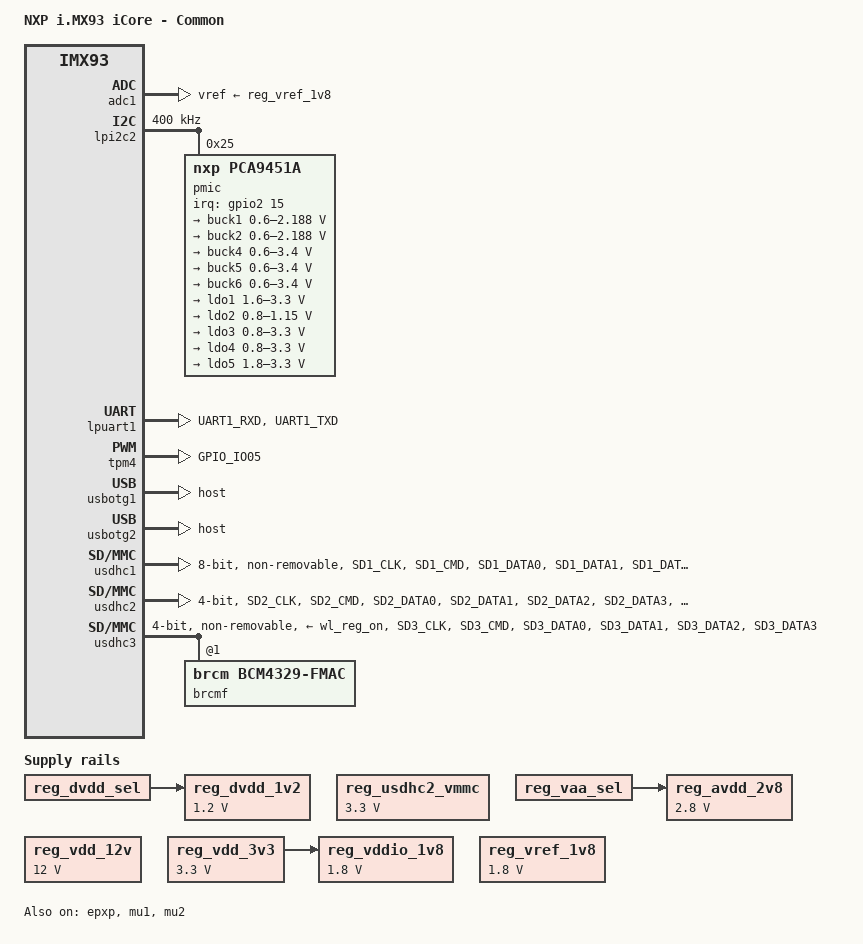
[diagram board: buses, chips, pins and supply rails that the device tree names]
// SPDX-License-Identifier: (GPL-2.0+ OR MIT)
/*
 * Copyright 2022 NXP
 */

/dts-v1/;

#include <dt-bindings/usb/pd.h>
#include "../freescale/imx93.dtsi"

&ele_mu {
	memory-region = <&ele_reserved>;
};

/ {
	model = "NXP i.MX93 iCore - Common";
	compatible = "engi,imx93" ,"fsl,imx93";

	aliases {
		rtc1= &bbnsm_rtc;
	};

	chosen {
		stdout-path = &lpuart1;
	};

	cm33: imx93-cm33 {
		compatible = "fsl,imx93-cm33";
		mbox-names = "tx", "rx", "rxdb";
		mboxes = <&mu1 0 1
			  &mu1 1 1
			  &mu1 3 1>;
		memory-region = <&vdevbuffer>, <&vdev0vring0>, <&vdev0vring1>,
				<&vdev1vring0>, <&vdev1vring1>, <&rsc_table>;
		fsl,startup-delay-ms = <500>;
	};

	ethosu {
		compatible = "arm,ethosu";
		fsl,cm33-proc = <&cm33>;
		memory-region = <&ethosu_mem>;
		power-domains = <&mlmix>;
	};

	reg_avdd_2v8: regulator-avdd {
		compatible = "regulator-fixed";
		regulator-name = "AVDD_2V8";
		regulator-min-microvolt = <2800000>;
		regulator-max-microvolt = <2800000>;
		enable-active-high;
		vin-supply = <&reg_vaa_sel>;
	};

	reg_dvdd_1v2: regulator-dvdd {
		compatible = "regulator-fixed";
		regulator-name = "DVDD_1V2";
		regulator-min-microvolt = <1200000>;
		regulator-max-microvolt = <1200000>;
		enable-active-high;
		vin-supply = <&reg_dvdd_sel>;
	};

	reg_dvdd_sel: regulator-dvdd_sel {
		compatible = "regulator-fixed";
		regulator-name = "DVDD_SEL";
		enable-active-high;
		startup-delay-us = <2000>;
	};

	reg_usdhc2_vmmc: regulator-usdhc2 {
		compatible = "regulator-fixed";
		regulator-name = "VSD_3V3";
		regulator-min-microvolt = <3300000>;
		regulator-max-microvolt = <3300000>;
	};

	reg_vaa_sel: regulator-vaa_sel {
		compatible = "regulator-fixed";
		regulator-name = "VAA_SEL";
		enable-active-high;
	};

	reg_vdd_12v: regulator-vdd-12v {
		compatible = "regulator-fixed";
		regulator-name = "reg_vdd_12v";
		regulator-min-microvolt = <12000000>;
		regulator-max-microvolt = <12000000>;
		enable-active-high;
	};

	reg_vddio_1v8: regulator-vddo {
		compatible = "regulator-fixed";
		regulator-name = "VDDIO_1V8";
		regulator-min-microvolt = <1800000>;
		regulator-max-microvolt = <1800000>;
		startup-delay-us = <4000>;
		enable-active-high;
		vin-supply = <&reg_vdd_3v3>;
	};

	reg_vdd_3v3: regulator-vdd {
		compatible = "regulator-fixed";
		regulator-name = "VDD_3V3";
		regulator-min-microvolt = <3300000>;
		regulator-max-microvolt = <3300000>;
		startup-delay-us = <4000>;
		enable-active-high;
	};

	reg_vref_1v8: regulator-adc-vref {
		compatible = "regulator-fixed";
		regulator-name = "vref_1v8";
		regulator-min-microvolt = <1800000>;
		regulator-max-microvolt = <1800000>;
	};

	reserved-memory {
		#address-cells = <2>;
		#size-cells = <2>;
		ranges;

		linux,cma {
			compatible = "shared-dma-pool";
			reusable;
			alloc-ranges = <0 0x80000000 0 0x40000000>;
			size = <0 0x10000000>;
			linux,cma-default;
		};

		ethosu_mem: ethosu_region@C0000000 {
			compatible = "shared-dma-pool";
			reusable;
			reg = <0x0 0xC0000000 0x0 0x10000000>;
		};

		rsc_table: rsc_table@2021f000 {
			reg = <0 0x2021f000 0 0x1000>;
			no-map;
		};

		vdevbuffer: vdevbuffer@a4020000 {
			compatible = "shared-dma-pool";
			reg = <0 0xa4020000 0 0x100000>;
			no-map;
		};

		vdev0vring0: vdev0vring0@a4000000 {
			reg = <0 0xa4000000 0 0x8000>;
			no-map;
		};

		vdev0vring1: vdev0vring1@a4008000 {
			reg = <0 0xa4008000 0 0x8000>;
			no-map;
		};

		vdev1vring0: vdev1vring0@a4000000 {
			reg = <0 0xa4010000 0 0x8000>;
			no-map;
		};

		vdev1vring1: vdev1vring1@a4018000 {
			reg = <0 0xa4018000 0 0x8000>;
			no-map;
		};

		ele_reserved: ele-reserved@a4120000 {
			compatible = "shared-dma-pool";
			reg = <0 0xa4120000 0 0x100000>;
			no-map;
		};
	};

	usdhc3_pwrseq: usdhc3_pwrseq {
		compatible = "mmc-pwrseq-simple";
	};
};

&adc1 {
	vref-supply = <&reg_vref_1v8>;
	status = "okay";
};

&epxp {
	status = "okay";
};

&isi_0 {
	status = "disabled";

	cap_device {
		status = "disabled";
	};
};

&lpi2c2 {
	#address-cells = <1>;
	#size-cells = <0>;
	clock-frequency = <400000>;
	pinctrl-names = "default", "sleep";
	pinctrl-0 = <&pinctrl_lpi2c2>;
	pinctrl-1 = <&pinctrl_lpi2c2>;
	status = "okay";

	pmic@25 {
		compatible = "nxp,pca9451a";
		reg = <0x25>;
		engi,wdog_b-warm-reset;


		interrupt-parent = <&gpio2>;
		interrupts = <15 IRQ_TYPE_LEVEL_LOW>;

		regulators {
			buck1: BUCK1 {
				regulator-name = "BUCK1";
				regulator-min-microvolt = <600000>;
				regulator-max-microvolt = <2187500>;
				regulator-boot-on;
				regulator-always-on;
				regulator-ramp-delay = <3125>;
			};

			buck2: BUCK2 {
				regulator-name = "BUCK2";
				regulator-min-microvolt = <600000>;
				regulator-max-microvolt = <2187500>;
				regulator-boot-on;
				regulator-always-on;
				regulator-ramp-delay = <3125>;
			};

			buck4: BUCK4{
				regulator-name = "BUCK4";
				regulator-min-microvolt = <600000>;
				regulator-max-microvolt = <3400000>;
				regulator-boot-on;
				regulator-always-on;
			};

			buck5: BUCK5{
				regulator-name = "BUCK5";
				regulator-min-microvolt = <600000>;
				regulator-max-microvolt = <3400000>;
				regulator-boot-on;
				regulator-always-on;
			};

			buck6: BUCK6 {
				regulator-name = "BUCK6";
				regulator-min-microvolt = <600000>;
				regulator-max-microvolt = <3400000>;
				regulator-boot-on;
				regulator-always-on;
			};

			ldo1: LDO1 {
				regulator-name = "LDO1";
				regulator-min-microvolt = <1600000>;
				regulator-max-microvolt = <3300000>;
				regulator-boot-on;
				regulator-always-on;
			};

			ldo2: LDO2 {
				regulator-name = "LDO2";
				regulator-min-microvolt = <800000>;
				regulator-max-microvolt = <1150000>;
				regulator-boot-on;
				regulator-always-on;
			};

			ldo3: LDO3 {
				regulator-name = "LDO3";
				regulator-min-microvolt = <800000>;
				regulator-max-microvolt = <3300000>;
				regulator-boot-on;
				regulator-always-on;
			};

			ldo4: LDO4 {
				regulator-name = "LDO4";
				regulator-min-microvolt = <800000>;
				regulator-max-microvolt = <3300000>;
				regulator-boot-on;
				regulator-always-on;
			};

			ldo5: LDO5 {
				regulator-name = "LDO5";
				regulator-min-microvolt = <1800000>;
				regulator-max-microvolt = <3300000>;
				regulator-boot-on;
				regulator-always-on;
			};
		};
	};
};

&lpuart1 { /* console */
	pinctrl-names = "default";
	pinctrl-0 = <&pinctrl_uart1>;
	status = "okay";
};

&mu1 {
	status = "okay";
};

&mu2 {
	status = "okay";
};

&tpm4 {
	pinctrl-names = "default";
	pinctrl-0 = <&pinctrl_tpm4>;
	status = "okay";
};

&usbotg1 {
	dr_mode = "host";
	status = "okay";
};

&usbotg2 {
	dr_mode = "host";
	status = "okay";
};

&usdhc1 {
	pinctrl-names = "default", "state_100mhz", "state_200mhz";
	pinctrl-0 = <&pinctrl_usdhc1>;
	pinctrl-1 = <&pinctrl_usdhc1>;
	pinctrl-2 = <&pinctrl_usdhc1>;
	bus-width = <8>;
	non-removable;
	status = "okay";
};

&usdhc2 {/*SD Card*/
	pinctrl-names = "default", "state_100mhz", "state_200mhz";
	pinctrl-0 = <&pinctrl_usdhc2>, <&pinctrl_usdhc2_gpio>;
	pinctrl-1 = <&pinctrl_usdhc2>, <&pinctrl_usdhc2_gpio>;
	pinctrl-2 = <&pinctrl_usdhc2>, <&pinctrl_usdhc2_gpio>;
	cd-gpios = <&gpio3 00 GPIO_ACTIVE_LOW>;
	bus-width = <4>;
	no-1-8-v;
	max-frequency = <25000000>;
	status = "okay";
};

&usdhc3 {/* WiFi*/
	pinctrl-names = "default", "state_100mhz", "state_200mhz";
	pinctrl-0 = <&pinctrl_usdhc3>, <&pinctrl_laird>;
	pinctrl-1 = <&pinctrl_usdhc3>, <&pinctrl_laird>;
	pinctrl-2 = <&pinctrl_usdhc3>, <&pinctrl_laird>;
	vmmc-supply = <&wl_reg_on>;
	bus-width = <4>;
	no-1-8-v;
	non-removable;
	max-frequency = <25000000>;
	status = "okay";

	#address-cells = <1>;
	#size-cells = <0>;

	brcmf: bcrmf@1 {
		reg = <1>;
		compatible = "brcm,bcm4329-fmac";
	};
};

&iomuxc {

	pinctrl_tpm4: tpm4grp {
		fsl,pins = <
			MX93_PAD_GPIO_IO05__TPM4_CH0			0x57e
		>;
	};

	pinctrl_uart1: uart1grp {
		fsl,pins = <
			MX93_PAD_UART1_RXD__LPUART1_RX			0x31e
			MX93_PAD_UART1_TXD__LPUART1_TX			0x31e
		>;
	};

	pinctrl_usdhc1: usdhc1grp {
		fsl,pins = <
			MX93_PAD_SD1_CLK__USDHC1_CLK		0x15fe
			MX93_PAD_SD1_CMD__USDHC1_CMD		0x13fe
			MX93_PAD_SD1_DATA0__USDHC1_DATA0	0x13fe
			MX93_PAD_SD1_DATA1__USDHC1_DATA1	0x13fe
			MX93_PAD_SD1_DATA2__USDHC1_DATA2	0x13fe
			MX93_PAD_SD1_DATA3__USDHC1_DATA3	0x13fe
			MX93_PAD_SD1_DATA4__USDHC1_DATA4	0x13fe
			MX93_PAD_SD1_DATA5__USDHC1_DATA5	0x13fe
			MX93_PAD_SD1_DATA6__USDHC1_DATA6	0x13fe
			MX93_PAD_SD1_DATA7__USDHC1_DATA7	0x13fe
			MX93_PAD_SD1_STROBE__USDHC1_STROBE	0x15fe
		>;
	};

	pinctrl_usdhc2: usdhc2grp {
		fsl,pins = <
			MX93_PAD_SD2_CLK__USDHC2_CLK			0x170e
			MX93_PAD_SD2_CMD__USDHC2_CMD			0x130e
			MX93_PAD_SD2_DATA0__USDHC2_DATA0		0x130e
			MX93_PAD_SD2_DATA1__USDHC2_DATA1        0x130e
			MX93_PAD_SD2_DATA2__USDHC2_DATA2        0x130e
			MX93_PAD_SD2_DATA3__USDHC2_DATA3        0x130e
			MX93_PAD_SD2_VSELECT__USDHC2_VSELECT	0x51e
		>;
	};

	pinctrl_usdhc2_gpio: usdhc2gpiogrp {
		fsl,pins = <
			MX93_PAD_SD2_CD_B__GPIO3_IO00		0x31e
		>;
	};

	pinctrl_usdhc3: usdhc3grp {
		fsl,pins = <
			MX93_PAD_SD3_CLK__USDHC3_CLK			0x17fe
			MX93_PAD_SD3_CMD__USDHC3_CMD			0x13fe
			MX93_PAD_SD3_DATA0__USDHC3_DATA0		0x13fe
			MX93_PAD_SD3_DATA1__USDHC3_DATA1        0x13fe
			MX93_PAD_SD3_DATA2__USDHC3_DATA2        0x13fe
			MX93_PAD_SD3_DATA3__USDHC3_DATA3        0x13fe
		>;
	};
};
